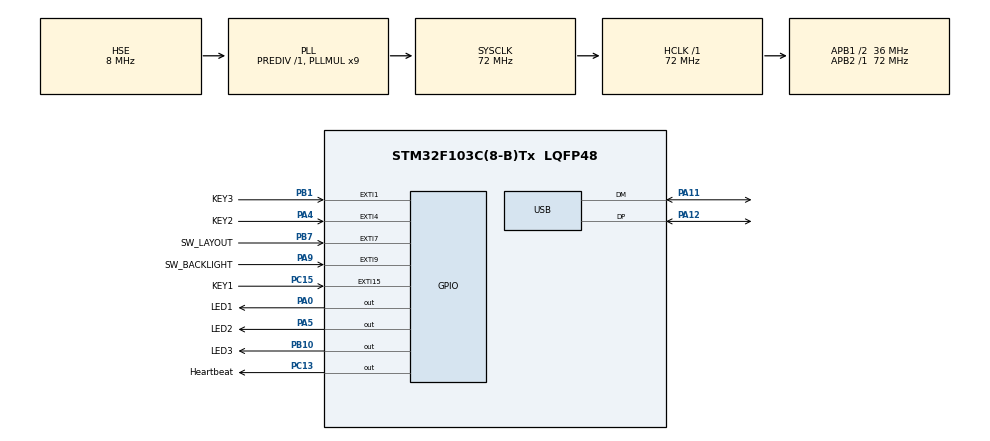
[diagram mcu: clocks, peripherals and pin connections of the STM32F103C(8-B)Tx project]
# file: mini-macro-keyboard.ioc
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Mcu.Family=STM32F1
Mcu.Name=STM32F103C(8-B)Tx
Mcu.Package=LQFP48
NVIC.EXTI15_10_IRQn=true\:0\:0\:false\:false\:true\:true\:true
NVIC.EXTI1_IRQn=true\:0\:0\:false\:false\:true\:true\:true
NVIC.EXTI4_IRQn=true\:0\:0\:false\:false\:true\:true\:true
NVIC.EXTI9_5_IRQn=true\:0\:0\:false\:false\:true\:true\:true
NVIC.PriorityGroup=NVIC_PRIORITYGROUP_4
NVIC.USB_LP_CAN1_RX0_IRQn=true\:0\:0\:false\:false\:true\:false\:true
PA0-WKUP.GPIO_Label=LED1
PA0-WKUP.Signal=GPIO_Output
PA11.Mode=Device
PA11.Signal=USB_DM
PA12.Mode=Device
PA12.Signal=USB_DP
PA13.Mode=Serial_Wire
PA13.Signal=SYS_JTMS-SWDIO
PA14.Mode=Serial_Wire
PA14.Signal=SYS_JTCK-SWCLK
PA4.GPIO_Label=KEY2
PA4.GPIO_ModeDefaultEXTI=GPIO_MODE_IT_FALLING
PA4.GPIO_PuPd=GPIO_PULLUP
PA4.Signal=GPXTI4
PA5.GPIO_Label=LED2
PA5.Signal=GPIO_Output
PA9.GPIO_Label=SW_BACKLIGHT
PA9.GPIO_ModeDefaultEXTI=GPIO_MODE_IT_RISING_FALLING
PA9.GPIO_PuPd=GPIO_PULLUP
PA9.Signal=GPXTI9
PB1.GPIO_Label=KEY3
PB1.GPIO_ModeDefaultEXTI=GPIO_MODE_IT_FALLING
PB1.GPIO_PuPd=GPIO_PULLUP
PB1.Signal=GPXTI1
PB10.GPIO_Label=LED3
PB10.Signal=GPIO_Output
PB7.GPIO_Label=SW_LAYOUT
PB7.GPIO_ModeDefaultEXTI=GPIO_MODE_IT_RISING_FALLING
PB7.GPIO_PuPd=GPIO_PULLUP
PB7.Signal=GPXTI7
PC13-TAMPER-RTC.GPIO_Label=Heartbeat
PC13-TAMPER-RTC.Signal=GPIO_Output
PC15-OSC32_OUT.GPIO_Label=KEY1
PC15-OSC32_OUT.GPIO_ModeDefaultEXTI=GPIO_MODE_IT_FALLING
PC15-OSC32_OUT.GPIO_PuPd=GPIO_PULLUP
PC15-OSC32_OUT.Signal=GPXTI15
PD0-OSC_IN.Mode=HSE-External-Oscillator
PD0-OSC_IN.Signal=RCC_OSC_IN
PD1-OSC_OUT.Mode=HSE-External-Oscillator
PD1-OSC_OUT.Signal=RCC_OSC_OUT
ProjectManager.HeapSize=0x200
ProjectManager.StackSize=0x400
ProjectManager.TargetToolchain=STM32CubeIDE
RCC.AHBFreq_Value=72000000
RCC.APB1CLKDivider=RCC_HCLK_DIV2
RCC.APB1Freq_Value=36000000
RCC.APB1TimFreq_Value=72000000
RCC.APB2Freq_Value=72000000
RCC.APB2TimFreq_Value=72000000
RCC.HCLKFreq_Value=72000000
RCC.PLLMUL=RCC_PLL_MUL9
RCC.SYSCLKFreq_VALUE=72000000
RCC.SYSCLKSource=RCC_SYSCLKSOURCE_PLLCLK
RCC.USBFreq_Value=48000000
RCC.USBPrescaler=RCC_USBCLKSOURCE_PLL_DIV1_5
USB_DEVICE.CLASS_NAME_FS=CUSTOM_HID
USB_DEVICE.CUSTOM_HID_FS_BINTERVAL=0x0A
USB_DEVICE.USBD_CUSTOMHID_OUTREPORT_BUF_SIZE=8
USB_DEVICE.USBD_CUSTOM_HID_REPORT_DESC_SIZE=63
USB_DEVICE.VirtualMode=CustomHid
USB_DEVICE.VirtualModeFS=Custom_Hid_FS
VP_USB_DEVICE_VS_USB_DEVICE_CUSTOM_HID_FS.Mode=CUSTOM_HID_FS
board=custom

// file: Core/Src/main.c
/* USER CODE BEGIN Header */
/**
  ******************************************************************************
  * @file           : main.c
  * @brief          : Main program body
  ******************************************************************************
  * @attention
  *
  * <h2><center>&copy; Copyright (c) 2021 STMicroelectronics.
  * All rights reserved.</center></h2>
  *
  * This software component is licensed by ST under BSD 3-Clause license,
  * the "License"; You may not use this file except in compliance with the
  * License. You may obtain a copy of the License at:
  *                        opensource.org/licenses/BSD-3-Clause
  *
  ******************************************************************************
  */
/* USER CODE END Header */

#include "main.h"
#include "usb_device.h"
#include "event/modules/e_module_heartbeat.h"
#include "event/modules/e_module_backlight.h"
#include "event/modules/e_module_core.h"
#include "event/modules/e_module_timers.h"
#include "event/modules/e_module_key.h"
#include "event/modules/e_module_keyboard.h"
#include "event/modules/e_module_report_codec.h"

void SystemClock_Config(void);
static void MX_GPIO_Init(void);

int main(void)
{

  /* MCU Configuration--------------------------------------------------------*/

  /* Reset of all peripherals, Initializes the Flash interface and the Systick. */
  HAL_Init();

  /* Configure the system clock */
  SystemClock_Config();

  /* Initialize all configured peripherals */
  MX_GPIO_Init();
  MX_USB_DEVICE_Init();
  /* USER CODE BEGIN 2 */
  struct e_module mod_table[10];
  uint8_t stack[256];
  uint8_t qstack[2048];
  e_core_ctor(mod_table, 10, qstack, 2048, stack, 256);

  struct e_timer timers[6];
  e_module_timers_ctor(timers, 6);

  struct e_module_heartbeat mod_heartbeat;
  e_pmod_heartbeat = &mod_heartbeat;
  e_module_heartbeat_ctor(&mod_heartbeat, "HEARTBEAT", DRV_LED_HEARTBEAT, 800, 300);

  struct e_module_backlight mod_backlight;
  e_pmod_backlight = &mod_backlight;
  e_module_backlight_ctor(&mod_backlight, "BCKL");

  struct e_module_key mod_switch_backlight;
  e_pmod_switch_backlight = &mod_switch_backlight;
  e_module_key_ctor(&mod_switch_backlight,
                      "SW_BCKL",
                      DRV_SWITCH_BACKLIGHT,
                      SIG_BACKLIGHT_ON,
                      SIG_BACKLIGHT_OFF,
                      e_pmod_backlight);

  struct e_module_keyboard mod_keyboard;
  e_pmod_keyboard = &mod_keyboard;
  e_module_keyboard_ctor(&mod_keyboard, "KEYBOARD");

  struct e_module_key mod_switch_key_1;
  e_pmod_key_1 = &mod_switch_key_1;
  e_module_key_ctor(&mod_switch_key_1,
                      "SW_KEY_1",
                      DRV_KEY_1,
                      SIG_KEY_PRESSED,
                      SIG_KEY_RELEASED,
                      e_pmod_keyboard);

  struct e_module_key mod_switch_key_2;
  e_pmod_key_2 = &mod_switch_key_2;
  e_module_key_ctor(&mod_switch_key_2,
                      "SW_KEY_2",
                      DRV_KEY_2,
                      SIG_KEY_PRESSED,
                      SIG_KEY_RELEASED,
                      e_pmod_keyboard);

  struct e_module_key mod_switch_key_3;
  e_pmod_key_3 = &mod_switch_key_3;
  e_module_key_ctor(&mod_switch_key_3,
                      "SW_KEY_3",
                      DRV_KEY_3,
                      SIG_KEY_PRESSED,
                      SIG_KEY_RELEASED,
                      e_pmod_keyboard);

  struct e_module_report_codec mod_report_codec;
  e_pmod_report_codec = &mod_report_codec;
  e_module_report_codec_ctor(&mod_report_codec, "CODEC");

  e_core_add_module((struct e_module*) &mod_heartbeat);
  e_core_add_module((struct e_module*) &mod_backlight);
  e_core_add_module((struct e_module*) &mod_switch_backlight);
  e_core_add_module((struct e_module*) &mod_keyboard);
  e_core_add_module((struct e_module*) &mod_switch_key_1);
  e_core_add_module((struct e_module*) &mod_switch_key_2);
  e_core_add_module((struct e_module*) &mod_switch_key_3);
  e_core_add_module((struct e_module*) &mod_report_codec);

  e_core_loop();
  /* USER CODE END 2 */

  /* Infinite loop */
  while (1)
  {

  }
}

void SystemClock_Config(void)
{
  RCC_OscInitTypeDef RCC_OscInitStruct = {0};
  RCC_ClkInitTypeDef RCC_ClkInitStruct = {0};
  RCC_PeriphCLKInitTypeDef PeriphClkInit = {0};

  /** Initializes the CPU, AHB and APB busses clocks
  */
  RCC_OscInitStruct.OscillatorType = RCC_OSCILLATORTYPE_HSE;
  RCC_OscInitStruct.HSEState = RCC_HSE_ON;
  RCC_OscInitStruct.HSEPredivValue = RCC_HSE_PREDIV_DIV1;
  RCC_OscInitStruct.HSIState = RCC_HSI_ON;
  RCC_OscInitStruct.PLL.PLLState = RCC_PLL_ON;
  RCC_OscInitStruct.PLL.PLLSource = RCC_PLLSOURCE_HSE;
  RCC_OscInitStruct.PLL.PLLMUL = RCC_PLL_MUL9;
  if (HAL_RCC_OscConfig(&RCC_OscInitStruct) != HAL_OK)
  {
    Error_Handler();
  }
  /** Initializes the CPU, AHB and APB busses clocks
  */
  RCC_ClkInitStruct.ClockType = RCC_CLOCKTYPE_HCLK|RCC_CLOCKTYPE_SYSCLK
                              |RCC_CLOCKTYPE_PCLK1|RCC_CLOCKTYPE_PCLK2;
  RCC_ClkInitStruct.SYSCLKSource = RCC_SYSCLKSOURCE_PLLCLK;
  RCC_ClkInitStruct.AHBCLKDivider = RCC_SYSCLK_DIV1;
  RCC_ClkInitStruct.APB1CLKDivider = RCC_HCLK_DIV2;
  RCC_ClkInitStruct.APB2CLKDivider = RCC_HCLK_DIV1;

  if (HAL_RCC_ClockConfig(&RCC_ClkInitStruct, FLASH_LATENCY_2) != HAL_OK)
  {
    Error_Handler();
  }
  PeriphClkInit.PeriphClockSelection = RCC_PERIPHCLK_USB;
  PeriphClkInit.UsbClockSelection = RCC_USBCLKSOURCE_PLL_DIV1_5;
  if (HAL_RCCEx_PeriphCLKConfig(&PeriphClkInit) != HAL_OK)
  {
    Error_Handler();
  }
}

static void MX_GPIO_Init(void)
{
  GPIO_InitTypeDef GPIO_InitStruct = {0};

  /* GPIO Ports Clock Enable */
  __HAL_RCC_GPIOC_CLK_ENABLE();
  __HAL_RCC_GPIOD_CLK_ENABLE();
  __HAL_RCC_GPIOA_CLK_ENABLE();
  __HAL_RCC_GPIOB_CLK_ENABLE();

  /*Configure GPIO pin Output Level */
  HAL_GPIO_WritePin(Heartbeat_GPIO_Port, Heartbeat_Pin, GPIO_PIN_RESET);

  /*Configure GPIO pin Output Level */
  HAL_GPIO_WritePin(GPIOA, LED1_Pin|LED2_Pin, GPIO_PIN_RESET);

  /*Configure GPIO pin Output Level */
  HAL_GPIO_WritePin(LED3_GPIO_Port, LED3_Pin, GPIO_PIN_RESET);

  /*Configure GPIO pin : Heartbeat_Pin */
  GPIO_InitStruct.Pin = Heartbeat_Pin;
  GPIO_InitStruct.Mode = GPIO_MODE_OUTPUT_PP;
  GPIO_InitStruct.Pull = GPIO_NOPULL;
  GPIO_InitStruct.Speed = GPIO_SPEED_FREQ_LOW;
  HAL_GPIO_Init(Heartbeat_GPIO_Port, &GPIO_InitStruct);

  /*Configure GPIO pin : KEY1_Pin */
  GPIO_InitStruct.Pin = KEY1_Pin;
  GPIO_InitStruct.Mode = GPIO_MODE_IT_RISING_FALLING;
  GPIO_InitStruct.Pull = GPIO_PULLUP;
  HAL_GPIO_Init(KEY1_GPIO_Port, &GPIO_InitStruct);

  /*Configure GPIO pins : LED1_Pin LED2_Pin */
  GPIO_InitStruct.Pin = LED1_Pin|LED2_Pin;
  GPIO_InitStruct.Mode = GPIO_MODE_OUTPUT_PP;
  GPIO_InitStruct.Pull = GPIO_NOPULL;
  GPIO_InitStruct.Speed = GPIO_SPEED_FREQ_LOW;
  HAL_GPIO_Init(GPIOA, &GPIO_InitStruct);

  /*Configure GPIO pin : KEY2_Pin */
  GPIO_InitStruct.Pin = KEY2_Pin;
  GPIO_InitStruct.Mode = GPIO_MODE_IT_RISING_FALLING;
  GPIO_InitStruct.Pull = GPIO_PULLUP;
  HAL_GPIO_Init(KEY2_GPIO_Port, &GPIO_InitStruct);

  /*Configure GPIO pin : KEY3_Pin */
  GPIO_InitStruct.Pin = KEY3_Pin;
  GPIO_InitStruct.Mode = GPIO_MODE_IT_RISING_FALLING;
  GPIO_InitStruct.Pull = GPIO_PULLUP;
  HAL_GPIO_Init(KEY3_GPIO_Port, &GPIO_InitStruct);

  /*Configure GPIO pin : LED3_Pin */
  GPIO_InitStruct.Pin = LED3_Pin;
  GPIO_InitStruct.Mode = GPIO_MODE_OUTPUT_PP;
  GPIO_InitStruct.Pull = GPIO_NOPULL;
  GPIO_InitStruct.Speed = GPIO_SPEED_FREQ_LOW;
  HAL_GPIO_Init(LED3_GPIO_Port, &GPIO_InitStruct);

  /*Configure GPIO pin : SW_BACKLIGHT_Pin */
  GPIO_InitStruct.Pin = SW_BACKLIGHT_Pin;
  GPIO_InitStruct.Mode = GPIO_MODE_IT_RISING_FALLING;
  GPIO_InitStruct.Pull = GPIO_PULLUP;
  HAL_GPIO_Init(SW_BACKLIGHT_GPIO_Port, &GPIO_InitStruct);

  /*Configure GPIO pin : SW_LAYOUT_Pin */
  GPIO_InitStruct.Pin = SW_LAYOUT_Pin;
  GPIO_InitStruct.Mode = GPIO_MODE_IT_RISING_FALLING;
  GPIO_InitStruct.Pull = GPIO_PULLUP;
  HAL_GPIO_Init(SW_LAYOUT_GPIO_Port, &GPIO_InitStruct);

  /* EXTI interrupt init*/
  HAL_NVIC_SetPriority(EXTI1_IRQn, 0, 0);
  HAL_NVIC_EnableIRQ(EXTI1_IRQn);

  HAL_NVIC_SetPriority(EXTI4_IRQn, 0, 0);
  HAL_NVIC_EnableIRQ(EXTI4_IRQn);

  HAL_NVIC_SetPriority(EXTI9_5_IRQn, 0, 0);
  HAL_NVIC_EnableIRQ(EXTI9_5_IRQn);

  HAL_NVIC_SetPriority(EXTI15_10_IRQn, 0, 0);
  HAL_NVIC_EnableIRQ(EXTI15_10_IRQn);

}

void Error_Handler(void)
{
}

/************************ (C) COPYRIGHT STMicroelectronics *****END OF FILE****/
